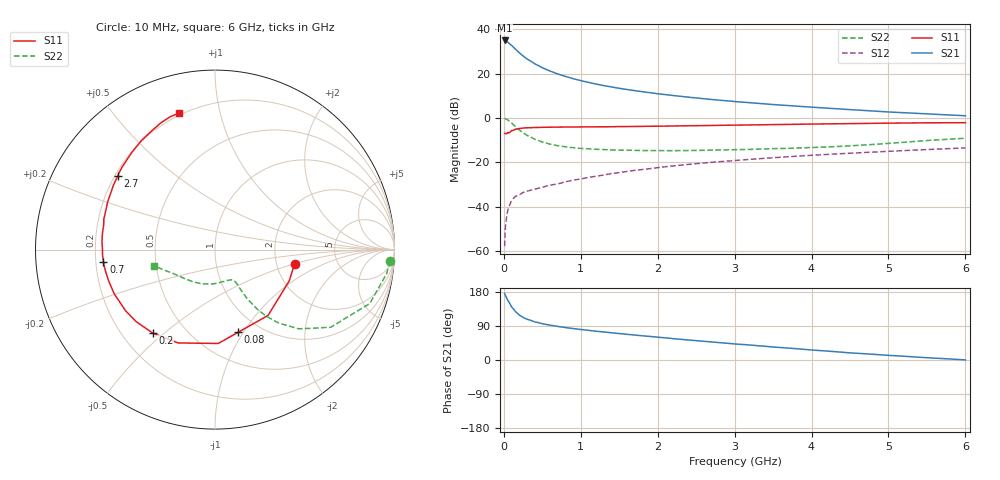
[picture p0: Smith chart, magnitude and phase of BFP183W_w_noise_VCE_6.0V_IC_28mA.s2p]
! Infineon Technologies  Discrete & RF Semiconductors
! BFP183W
! VCE =  6.0 V,  IC =  28 mA
! Common Emitter S-Parameters:  Jan 2017
# GHz  S  MA  R  50
!  f  S11  S21  S12  S22
! GHz  MAG  ANG  MAG  ANG  MAG  ANG  MAG  ANG
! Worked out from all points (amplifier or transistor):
!   77 points, 10 MHz to 6 GHz, reference 50 ohm
!   highest |S21| = 35.0 dB at 10 MHz (marker M1)
!   |S21| within 3 dB of that: start of sweep to 124 MHz
!   unconditionally stable (mu >= 1): 992.8 MHz to 3.435 GHz
!   at 130 MHz: K = 0.28, MSG = 33.9 dB, |S12| = -36.0 dB
!   at 2.2 GHz: K = 1.06, MAG = 14.4 dB, |S12| = -21.6 dB
!   at 6 GHz: K = 0.86, MSG = 7.2 dB, |S12| = -13.5 dB
!   lowest NFmin = 1.35 dB at 450 MHz
!   S11 on the Smith chart (normalised r, x): 10 MHz: 2.53, -0.50; 80 MHz: 0.80, -0.95; 200 MHz: 0.33, -0.46; 700 MHz: 0.23, -0.05; 2.7 GHz: 0.21, +0.32; 6 GHz: 0.19, +0.76
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0.01  0.4505 -10.0  55.93 175.7  0.0013 91.6  0.9756 -3.7
0.02  0.4489 -22.7  55.06 170.5  0.0034 88.2  0.9661 -7.9
0.05  0.471 -51.1  51.6 157.8  0.0081 74.1  0.9132 -19.2
0.08  0.4782 -74.3  46.21 148.0  0.0114 66.9  0.8242 -27.4
0.1  0.5233 -88.0  43.52 140.2  0.0137 64.1  0.7761 -33.9
0.15  0.5592 -111.6  35.8 127.9  0.0173 53.8  0.6427 -43.4
0.2  0.5804 -126.8  29.62 119.0  0.0185 49.8  0.5414 -49.1
0.25  0.5953 -137.8  25.05 112.4  0.0211 47.1  0.4658 -52.5
0.3  0.6035 -145.7  21.52 107.7  0.0224 47.6  0.409 -54.6
0.4  0.6134 -156.5  16.75 100.7  0.025 50.4  0.3337 -56.6
0.5  0.6178 -163.7  13.59 95.8  0.0276 50.7  0.289 -57.2
0.6  0.6221 -169.2  11.46 91.9  0.0308 52.4  0.2585 -57.3
0.7  0.6255 -173.5  9.862 88.7  0.0328 54.8  0.2384 -57.2
0.9  0.6272 179.3  7.707 83.0  0.04 57.4  0.215 -57.7
1.1  0.6326 173.8  6.349 78.3  0.046 59.6  0.2027 -58.6
1.5  0.6424 164.6  4.676 69.8  0.0592 61.0  0.1894 -62.9
2.1  0.6587 152.8  3.374 58.4  0.0799 60.7  0.1842 -74.6
2.7  0.6802 142.8  2.623 47.7  0.1005 58.6  0.1894 -90.1
3.1  0.6955 136.7  2.284 41.0  0.1139 56.6  0.1951 -100.8
4.1  0.7355 122.9  1.715 25.0  0.1481 51.0  0.2198 -127.1
5.1  0.77 112.3  1.344 11.1  0.1813 44.8  0.2763 -152.2
6  0.7867 104.6  1.126 0.2  0.2124 38.7  0.3508 -165.3
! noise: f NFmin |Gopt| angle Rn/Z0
0.45  1.35  0.26  179  0.09
0.9  1.38  0.29  -179  0.1
1.9  1.87  0.44  -157  0.1
2.4  2.12  0.49  -152  0.14
